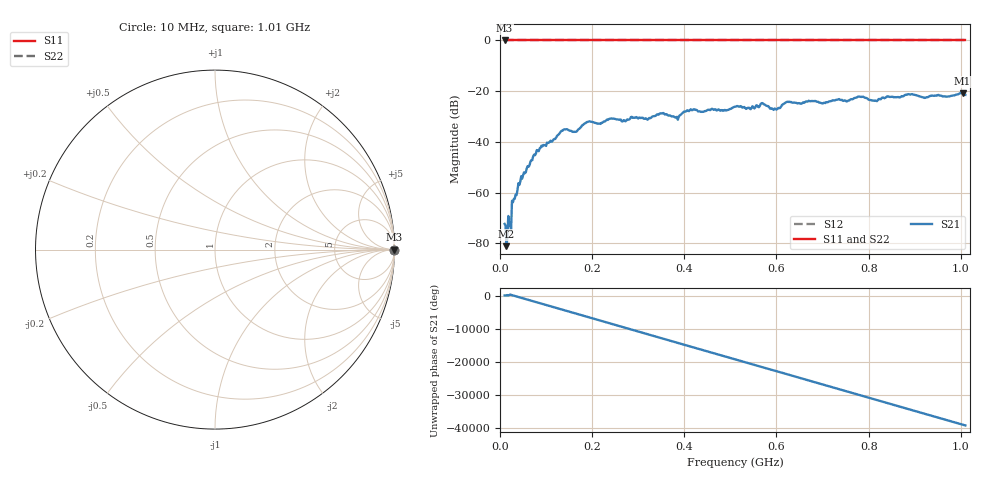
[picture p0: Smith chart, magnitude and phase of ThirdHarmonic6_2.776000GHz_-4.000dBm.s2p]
! 8/17/2025 7:05:23 AM
! C:\ANRITSUVNA\TEMP\TEMP.S2P
! CHANNEL.1
! TR.MEASUREMENT
! RAW.DATA
! RF.CORRECTION.OFF
! AVERAGING.OFF
! IF.BANDWIDTH: 5KHZ
! SWEEPTYPE:  FREQ.SWEEP(Linear)
! Reference Plane Port Info
! PORT:  PORT1  PORT2
! DISTANCE:  0  m  0  m
! TIME:  0  s  0  s
! PHASE.OFFSET:  0  deg.  0  deg.
! LOSS:  0  dB  0  dB
! REF.LOSS:  0  dB  0  dB
! REF.FREQ:  0  Hz  0  Hz
! Power Info
! POWER:  -20  dBm  -20  dBm
! EFF.POWER:  -20  dBm  -20  dBm
! SOURCE.ATTEN:  0  dB  0  dB
! TEST.ATTEN:  0  dB  0  dB
# GHZ S RI R 50.0
! FREQ.GHZ  S11RE  S11IM  S21RE  S21IM  S12RE  S12IM  S22RE  S22IM
!; PortSelection: Port_12
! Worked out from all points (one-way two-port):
!   501 points, 10 MHz to 1.01 GHz, reference 50 ohm
!   highest |S21| = -20.79 dB at 1.004 GHz (marker M1); lowest = -81.2 dB at 14 MHz (marker M2)
!   lowest |S11| = 0.0 dB at 10 MHz (marker M3)
!   |S11| at or under -10 dB: nowhere
!   |S22| runs from 0.0 to 0.0 dB; largest |S21 - S12| = 1.1
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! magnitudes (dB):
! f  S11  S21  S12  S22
! 10 MHz  0.0  -72.4  0.0  0.0
! 14 MHz  0.0  -81.2  0.0  0.0
! 20 MHz  0.0  -73.2  0.0  0.0
! 30 MHz  0.0  -62.6  0.0  0.0
! 42 MHz  0.0  -57.0  0.0  0.0
! 76 MHz  0.0  -45.3  0.0  0.0
! 136 MHz  0.0  -35.6  0.0  0.0
! 162 MHz  0.0  -36.0  0.0  0.0
! 178 MHz  0.0  -33.6  0.0  0.0
! 344 MHz  0.0  -29.3  0.0  0.0
! 384 MHz  0.0  -30.1  0.0  0.0
! 410 MHz  0.0  -27.9  0.0  0.0
! 510 MHz  0.0  -26.1  0.0  0.0
! 570 MHz  0.0  -24.7  0.0  0.0
! 596 MHz  0.0  -26.9  0.0  0.0
! 624 MHz  0.0  -24.2  0.0  0.0
! 678 MHz  0.0  -23.9  0.0  0.0
! 782 MHz  0.0  -22.2  0.0  0.0
! 814 MHz  0.0  -23.7  0.0  0.0
! 844 MHz  0.0  -22.2  0.0  0.0
! 1.004 GHz  0.0  -20.8  0.0  0.0
! 1.01 GHz  0.0  -21.5  0.0  0.0
